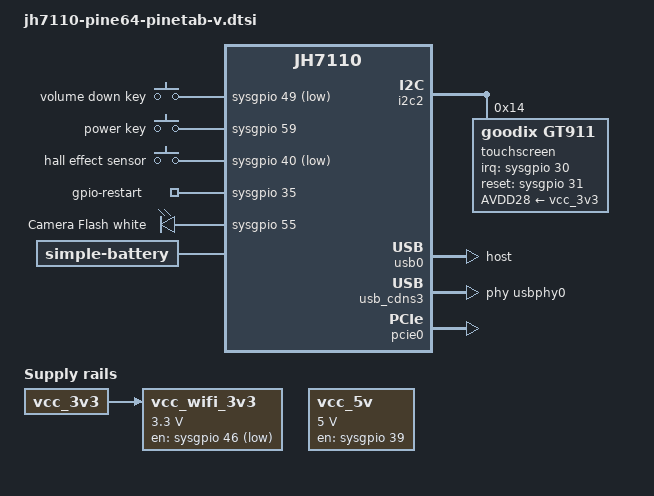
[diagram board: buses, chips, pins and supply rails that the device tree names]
// SPDX-License-Identifier: GPL-2.0 OR MIT
/*
 * Copyright (C) 2022 StarFive Technology Co., Ltd.
 * Copyright (C) 2022 Hal Feng <hal.feng@starfivetech.com>
 * Copyright (C) 2025 Icenowy Zheng <uwu@icenowy.me>
 */

/dts-v1/;
#include "jh7110-common.dtsi"
#include <dt-bindings/input/linux-event-codes.h>
#include <dt-bindings/leds/common.h>
#include <dt-bindings/pwm/pwm.h>
#include <dt-bindings/interrupt-controller/irq.h>

/ {
	chassis-type = "tablet";

	gpio_keys: gpio-keys {
		compatible = "gpio-keys";
		autorepeat;

		key-vol-down {
			label = "volume down key";
			debounce-interval = <10>;
			linux,input-type = <EV_KEY>;
			linux,code = <KEY_VOLUMEDOWN>;
			/* labeled as Vol+ in pinetab-v 2023 schematic */
			gpios = <&sysgpio 49 GPIO_ACTIVE_LOW>;
		};

		key-power {
			label = "power key";
			debounce-interval = <10>;
			linux,input-type = <EV_KEY>;
			linux,code = <KEY_POWER>;
			gpios = <&sysgpio 59 GPIO_ACTIVE_HIGH>;
		};

		switch-hall-sensor {
			label = "hall effect sensor";
			debounce-interval = <10>;
			linux,input-type = <EV_SW>;
			linux,code = <SW_TABLET_MODE>;
			gpios = <&sysgpio 40 GPIO_ACTIVE_LOW>;
		};
	};

	gpio-restart {
		compatible = "gpio-restart";
		gpios = <&sysgpio 35 GPIO_ACTIVE_HIGH>;
		priority = <160>;
	};

	leds {
		compatible = "gpio-leds";
		led-flash {
			gpios = <&sysgpio 55 GPIO_ACTIVE_HIGH>;
			color = <LED_COLOR_ID_WHITE>;
			function = LED_FUNCTION_FLASH;
			linux,default-trigger = "flash";
			label = "Camera Flash";
			power-supply = <&vcc_5v>;
		};
	};

	bat: battery {
		compatible = "simple-battery";
		charge-full-design-microamp-hours = <9800000>;
		voltage-max-design-microvolt = <4350000>;
		voltage-min-design-microvolt = <3000000>;
	};

	vcc_5v: regulator-vcc-5v {
		compatible = "regulator-fixed";
		enable-active-high;
		gpio = <&sysgpio 39 GPIO_ACTIVE_HIGH>;
		regulator-boot-on;
		regulator-always-on;
		regulator-name = "vcc-5v";
		regulator-min-microvolt = <5000000>;
		regulator-max-microvolt = <5000000>;
	};

	vcc_wifi_3v3: vcc-wifi_3v3 {
		compatible = "regulator-fixed";
		enable-active-low;
		gpio = <&sysgpio 46 GPIO_ACTIVE_LOW>;
		regulator-boot-on;
		regulator-always-on;
		regulator-name = "wifi_3v3";
		regulator-min-microvolt = <3300000>;
		regulator-max-microvolt = <3300000>;
		vin-supply = <&vcc_3v3>;
	};

	reserved-memory {
		#address-cells = <2>;
		#size-cells = <2>;
		ranges;

		linux,cma {
			compatible = "shared-dma-pool";
			reusable;
			size = <0x0 0x20000000>;
			alignment = <0x0 0x1000>;
			alloc-ranges = <0x0 0x70000000 0x0 0x20000000>;
			linux,cma-default;
		};

		e24_mem: e24@c0000000 {
			reg = <0x0 0x6ce00000 0x0 0x1600000>;
		};

		xrp_reserved: xrpbuffer@f0000000 {
			reg = <0x0 0x69c00000 0x0 0x01ffffff
				0x0 0x6bc00000 0x0 0x00001000
				0x0 0x6bc01000 0x0 0x00fff000
				0x0 0x6cc00000 0x0 0x00001000>;
		};
	};
};

&i2c2 {
	touchscreen@14 {
		compatible = "goodix,gt911";
		reg = <0x14>;
		interrupt-parent = <&sysgpio>;
		interrupts = <30 IRQ_TYPE_EDGE_FALLING>;
		pinctrl-names = "default";
		AVDD28-supply = <&vcc_3v3>;
		// VDDIO-supply = <&vdd1833_gpio>;
		irq-gpios = <&sysgpio 30 GPIO_ACTIVE_HIGH>;
		reset-gpios = <&sysgpio 31 GPIO_ACTIVE_HIGH>;
		status = "okay";
	};
};

&usb0 {
	dr_mode = "host";
	pinctrl-names = "default";
	pinctrl-0 = <&usb0_pins>;
	status = "okay";
};

&usb_cdns3 {
	phys = <&usbphy0>, <&pciephy0>;
	phy-names = "cdns3,usb2-phy", "cdns3,usb3-phy";
};

&sysgpio {
	usb0_pins: usb0-0 {
		vbus-pins {
			pinmux = <GPIOMUX(25,  GPOUT_SYS_USB_DRIVE_VBUS,
					       GPOEN_ENABLE,
					       GPI_NONE)>;
			bias-disable;
			input-disable;
			input-schmitt-disable;
			slew-rate = <0>;
		};

		usb-pins {
			pinmux = <GPIOMUX(43, GPOUT_LOW,
					      GPOEN_DISABLE,
					      GPI_NONE)>;
			bias-disable;
		};
	};
};

&pcie0 {
        status = "okay";
};

